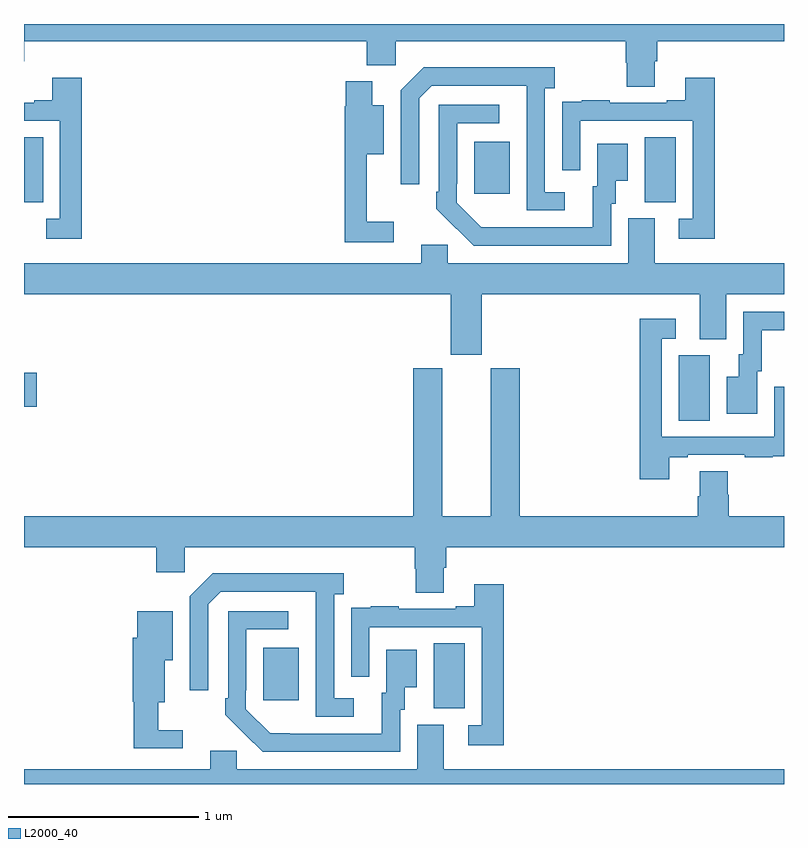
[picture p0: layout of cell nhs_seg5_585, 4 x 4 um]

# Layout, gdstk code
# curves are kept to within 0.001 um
import gdstk
lib = gdstk.Library(unit=1e-6, precision=1e-09)
def R(c, l, rs):  # rectangles x0, y0, x1, y1
    for r in rs: c.add(gdstk.rectangle(r[:2], r[2:], *l))
def P(c, l, *ps):  # polygons
    for p in ps: c.add(gdstk.Polygon(p, *l))
L2000_40 = (2000, 40)

nhs_seg5_585 = lib.new_cell('nhs_seg5_585')
R(nhs_seg5_585, L2000_40, [(149.156,905.197,149.32,905.54), (148.259,905.241,148.447,905.515), (150.446,906.712,150.61,907.056), (147,906.785,147.067,906.963), (147,907.861,147.1,908.204), (150.266,907.861,150.43,908.204), (149.369,907.905,149.557,908.179)])
P(nhs_seg5_585, L2000_40, [(150.319,908.602),(150.332,908.602),(150.332,908.708),(151,908.708),(151,908.799),(147,908.799),(147,908.602),(147.002,908.602),(147.002,908.708),(148.805,908.708),(148.805,908.582),(148.956,908.582),(148.956,908.708),(150.167,908.708),(150.167,908.595),(150.172,908.595),(150.172,908.47),(150.319,908.47)],
  [(149.845,907.914),(149.742,907.914),(149.742,908.462),(149.794,908.462),(149.794,908.572),(149.104,908.572),(148.983,908.451),(148.983,907.956),(149.079,907.956),(149.079,908.409),(149.145,908.475),(149.645,908.475),(149.646,907.818),(149.845,907.818)],
  [(150.635,908.515),(150.479,908.515),(150.479,908.398),(150.383,908.398),(150.383,908.385),(150.083,908.385),(150.083,908.398),(149.935,908.398),(149.935,908.391),(149.833,908.391),(149.833,908.282),(149.832,908.282),(149.832,908.028),(149.928,908.028),(149.928,908.289),(150.519,908.289),(150.519,907.773),(150.447,907.773),(150.447,907.668),(150.635,907.668)],
  [(147.305,908.515),(147.149,908.515),(147.149,908.398),(147.053,908.398),(147.053,908.385),(147,908.385),(147,908.289),(147.189,908.289),(147.189,907.773),(147.117,907.773),(147.117,907.668),(147.305,907.668)],
  [(148.945,907.759),(148.805,907.759),(148.805,908.114),(148.894,908.114),(148.894,908.371),(148.834,908.371),(148.834,908.497),(148.694,908.497),(148.694,908.367),(148.687,908.367),(148.687,907.65),(148.945,907.65)],
  [(150.09,907.854),(150.115,907.854),(150.115,907.973),(150.178,907.973),(150.178,908.17),(150.017,908.17),(150.017,907.944),(149.993,907.944),(149.993,907.728),(149.406,907.729),(149.277,907.857),(149.277,907.957),(149.28,907.957),(149.28,908.277),(149.5,908.277),(149.5,908.373),(149.184,908.373),(149.184,907.915),(149.169,907.915),(149.169,907.827),(149.366,907.632),(150.09,907.632)],
  [(149.41,907.376),(150.557,907.376),(150.557,907.141),(150.697,907.141),(150.697,907.376),(151,907.376),(151,907.54),(150.319,907.54),(150.319,907.776),(150.179,907.776),(150.179,907.54),(149.229,907.54),(149.229,907.638),(149.09,907.638),(149.09,907.54),(147,907.54),(147,907.376),(149.246,907.376),(149.246,907.059),(149.41,907.059)],
  [(150.859,906.972),(150.883,906.972),(150.883,907.188),(151,907.188),(151,907.284),(150.786,907.284),(150.786,907.062),(150.761,907.062),(150.761,906.943),(150.698,906.943),(150.698,906.747),(150.859,906.747)],
  [(150.397,906.519),(150.493,906.519),(150.493,906.531),(150.793,906.531),(150.793,906.519),(150.941,906.519),(150.941,906.525),(151,906.525),(151,906.889),(150.948,906.889),(150.948,906.627),(150.357,906.627),(150.357,907.143),(150.43,907.143),(150.43,907.249),(150.241,907.249),(150.241,906.402),(150.397,906.402)],
  [(149.209,905.938),(149.222,905.938),(149.222,906.044),(151,906.044),(151,906.208),(150.71,906.208),(150.71,906.321),(150.705,906.321),(150.705,906.446),(150.557,906.446),(150.557,906.314),(150.545,906.314),(150.545,906.208),(149.609,906.208),(149.609,906.987),(149.456,906.987),(149.456,906.208),(149.2,906.208),(149.2,906.987),(149.048,906.987),(149.048,906.208),(147,906.208),(147,906.044),(147.695,906.044),(147.695,905.913),(147.846,905.913),(147.846,906.044),(149.057,906.044),(149.057,905.931),(149.062,905.931),(149.062,905.806),(149.209,905.806)],
  [(148.735,905.25),(148.632,905.25),(148.632,905.798),(148.684,905.798),(148.684,905.908),(147.994,905.908),(147.873,905.787),(147.873,905.292),(147.969,905.292),(147.969,905.745),(148.035,905.811),(148.535,905.811),(148.536,905.154),(148.735,905.154)],
  [(149.525,905.851),(149.369,905.851),(149.369,905.734),(149.273,905.734),(149.273,905.721),(148.973,905.721),(148.973,905.734),(148.825,905.734),(148.825,905.727),(148.723,905.727),(148.723,905.618),(148.722,905.618),(148.722,905.364),(148.818,905.364),(148.818,905.625),(149.409,905.625),(149.409,905.109),(149.337,905.109),(149.337,905.004),(149.525,905.004)],
  [(148.98,905.19),(149.005,905.19),(149.005,905.309),(149.068,905.309),(149.068,905.506),(148.907,905.506),(148.907,905.28),(148.883,905.28),(148.883,905.064),(148.296,905.065),(148.167,905.193),(148.167,905.293),(148.17,905.293),(148.17,905.613),(148.39,905.613),(148.39,905.709),(148.074,905.709),(148.074,905.251),(148.059,905.251),(148.059,905.163),(148.256,904.968),(148.98,904.968)],
  [(147.835,905.083),(147.706,905.083),(147.706,905.228),(147.742,905.228),(147.742,905.45),(147.784,905.45),(147.784,905.707),(147.596,905.707),(147.596,905.568),(147.572,905.568),(147.572,905.232),(147.577,905.232),(147.577,904.986),(147.835,904.986)],
  [(151,904.876),(149.209,904.876),(149.209,905.112),(149.069,905.112),(149.069,904.876),(148.119,904.876),(148.119,904.974),(147.98,904.974),(147.98,904.876),(147,904.876),(147,904.799),(151,904.799)])

lib.write_gds('nhs_seg5_585.gds')
